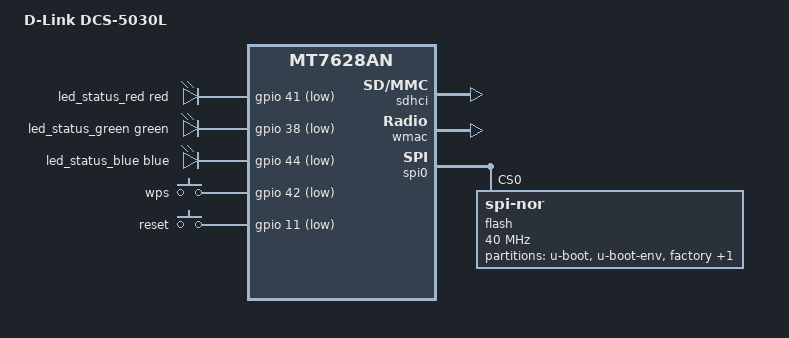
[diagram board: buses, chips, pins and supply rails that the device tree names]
// SPDX-License-Identifier: GPL-2.0-or-later OR MIT

#include "mt7628an.dtsi"

#include <dt-bindings/gpio/gpio.h>
#include <dt-bindings/input/input.h>
#include <dt-bindings/leds/common.h>

/ {
	compatible = "dlink,dcs-5030l", "mediatek,mt7628an-soc";
	model = "D-Link DCS-5030L";

	leds {
		compatible = "gpio-leds";

		led_status_red: status_red {
			function = LED_FUNCTION_STATUS;
			color = <LED_COLOR_ID_RED>;
			gpios = <&gpio 41 GPIO_ACTIVE_LOW>;
			default-state = "off";
		};

		led_status_green: status_green {
			function = LED_FUNCTION_STATUS;
			color = <LED_COLOR_ID_GREEN>;
			gpios = <&gpio 38 GPIO_ACTIVE_LOW>;
			default-state = "off";
		};

		led_status_blue: status_blue {
			function = LED_FUNCTION_STATUS;
			color = <LED_COLOR_ID_BLUE>;
			gpios = <&gpio 44 GPIO_ACTIVE_LOW>;
			default-state = "off";
		};
	};

	keys {
		compatible = "gpio-keys";

		wps {
			label = "wps";
			gpios = <&gpio 42 GPIO_ACTIVE_LOW>;
			linux,code = <KEY_WPS_BUTTON>;
		};

		reset {
			label = "reset";
			gpios = <&gpio 11 GPIO_ACTIVE_LOW>;
			linux,code = <KEY_RESTART>;
		};
	};

};

&state_default {
	gpio {
		groups = "i2c";
		function = "gpio";
	};
};

&sdhci {
        status = "okay";
};

&ethernet {
	nvmem-cells = <&macaddr_factory_28>;
	nvmem-cell-names = "mac-address";
};

&esw {
    mediatek,portmap = <0x03>;  // Enables Port 0 (WAN) and Port 1 (LAN)
};

&wmac {
	status = "okay";

	nvmem-cells = <&eeprom_factory_0>;
	nvmem-cell-names = "eeprom";

	nvmem-cells = <&macaddr_factory_28>;
	nvmem-cell-names = "mac-address";
};

&spi0 {
	status = "okay";

	flash@0 {
		compatible = "jedec,spi-nor";
		reg = <0>;
		spi-max-frequency = <40000000>;

		partitions {
			compatible = "fixed-partitions";
			#address-cells = <1>;
			#size-cells = <1>;

			partition@0 {
				label = "u-boot";
				reg = <0x0 0x30000>;
				read-only;
			};

			partition@30000 {
				label = "u-boot-env";
				reg = <0x30000 0x10000>;
				read-only;
			};

			partition@40000 {
				label = "factory";
				reg = <0x40000 0x10000>;
				read-only;

				nvmem-layout {
					compatible = "fixed-layout";
					#address-cells = <1>;
					#size-cells = <1>;

					eeprom_factory_0: eeprom@0 {
						reg = <0x0 0x400>;
					};

					macaddr_factory_28: macaddr@28 {
						reg = <0x28 0x6>;
					};
				};
			};

			partition@50000 {
				compatible = "denx,uimage";
				label = "firmware";
				reg = <0x50000 0x7b0000>;
			};
		};
	};
};
